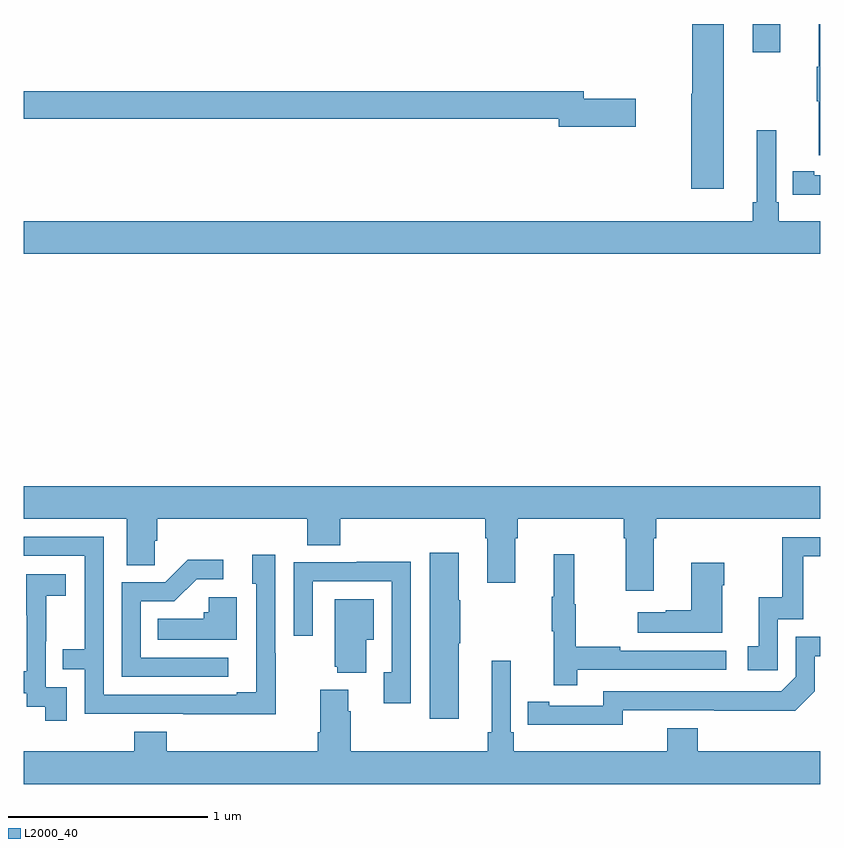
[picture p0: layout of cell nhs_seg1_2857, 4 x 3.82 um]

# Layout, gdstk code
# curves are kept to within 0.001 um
import gdstk
lib = gdstk.Library(unit=1e-6, precision=1e-09)
def R(c, l, rs):  # rectangles x0, y0, x1, y1
    for r in rs: c.add(gdstk.rectangle(r[:2], r[2:], *l))
def P(c, l, *ps):  # polygons
    for p in ps: c.add(gdstk.Polygon(p, *l))
L2000_40 = (2000, 40)

nhs_seg1_2857 = lib.new_cell('nhs_seg1_2857')
R(nhs_seg1_2857, L2000_40, [(268.661,574.056,268.801,574.199)])
P(nhs_seg1_2857, L2000_40, [(268.516,574.199),(268.358,574.199),(268.358,573.849),(268.352,573.849),(268.352,573.372),(268.516,573.372)],
  [(269,574.198),(268.994,574.198),(268.994,573.985),(268.983,573.985),(268.983,573.811),(268.994,573.811),(268.994,573.54),(269,573.54)],
  [(268.075,573.824),(267.814,573.824),(267.814,573.86),(265,573.86),(265,573.724),(267.686,573.724),(267.686,573.682),(268.075,573.682)],
  [(269,573.208),(268.793,573.208),(268.793,573.304),(268.779,573.304),(268.779,573.664),(268.682,573.664),(268.682,573.304),(268.663,573.304),(268.663,573.208),(265,573.208),(265,573.044),(269,573.044)],
  [(269,573.438),(268.972,573.438),(268.972,573.458),(268.864,573.458),(268.864,573.342),(268.972,573.342),(268.972,573.341),(269,573.341)],
  [(268.165,571.616),(268.178,571.616),(268.178,571.712),(269,571.712),(269,571.876),(265,571.876),(265,571.712),(265.517,571.712),(265.517,571.48),(265.656,571.48),(265.656,571.603),(265.67,571.603),(265.67,571.712),(266.423,571.712),(266.423,571.579),(266.588,571.579),(266.588,571.712),(267.317,571.712),(267.317,571.616),(267.329,571.616),(267.329,571.392),(267.469,571.392),(267.469,571.616),(267.482,571.616),(267.482,571.712),(268.013,571.712),(268.013,571.616),(268.025,571.616),(268.025,571.35),(268.165,571.35)],
  [(266.265,571.037),(266.262,571.037),(266.262,571.531),(266.147,571.531),(266.147,571.386),(266.166,571.386),(266.166,570.841),(266.069,570.841),(266.069,570.828),(265.401,570.828),(265.401,571.623),(265,571.623),(265,571.527),(265.305,571.527),(265.305,571.058),(265.195,571.058),(265.195,570.957),(265.305,570.957),(265.305,570.732),(265.801,570.732),(265.801,570.731),(266.265,570.731)],
  [(268.788,571.209),(268.917,571.209),(268.917,571.524),(269,571.524),(269,571.62),(268.809,571.62),(268.809,571.318),(268.691,571.318),(268.691,571.071),(268.638,571.071),(268.638,570.951),(268.788,570.951)],
  [(267.184,571.087),(267.192,571.087),(267.192,571.304),(267.184,571.304),(267.184,571.543),(267.038,571.543),(267.038,570.708),(267.184,570.708)],
  [(267.779,570.954),(268.528,570.954),(268.528,571.05),(267.995,571.05),(267.995,571.07),(267.772,571.07),(267.772,571.284),(267.764,571.284),(267.764,571.534),(267.662,571.534),(267.662,571.321),(267.651,571.321),(267.651,571.147),(267.662,571.147),(267.662,570.876),(267.779,570.876)],
  [(266.026,571.014),(265.587,571.014),(265.587,571.299),(265.756,571.299),(265.867,571.41),(266.002,571.41),(266.002,571.508),(265.823,571.508),(265.71,571.395),(265.491,571.395),(265.491,570.918),(266.026,570.918)],
  [(266.943,571.496),(266.671,571.496),(266.671,571.494),(266.355,571.494),(266.355,571.125),(266.451,571.125),(266.451,571.398),(266.847,571.398),(266.847,570.942),(266.807,570.942),(266.807,570.786),(266.943,570.786)],
  [(268.51,571.379),(268.518,571.379),(268.518,571.492),(268.352,571.492),(268.352,571.253),(268.226,571.253),(268.226,571.243),(268.083,571.243),(268.083,571.139),(268.51,571.139)],
  [(265.215,570.867),(265.11,570.867),(265.11,571.097),(265.112,571.097),(265.112,571.325),(265.21,571.325),(265.21,571.435),(265.012,571.435),(265.012,571.229),(265.013,571.229),(265.013,570.946),(265,570.946),(265,570.837),(265.014,570.837),(265.014,570.769),(265.107,570.769),(265.107,570.699),(265.215,570.699)],
  [(266.068,571.318),(265.929,571.318),(265.929,571.242),(265.903,571.242),(265.903,571.21),(265.672,571.21),(265.672,571.106),(266.068,571.106)],
  [(266.719,571.106),(266.758,571.106),(266.758,571.309),(266.561,571.309),(266.561,570.969),(266.573,570.969),(266.573,570.938),(266.719,570.938)],
  [(268.008,570.75),(268.876,570.749),(268.974,570.846),(268.974,571.023),(269,571.023),(269,571.119),(268.878,571.119),(268.878,570.918),(268.806,570.846),(267.912,570.846),(267.912,570.774),(267.64,570.774),(267.64,570.794),(267.532,570.794),(267.532,570.678),(268.008,570.677)],
  [(266.489,570.853),(266.489,570.64),(266.477,570.64),(266.477,570.544),(265.718,570.544),(265.718,570.643),(265.553,570.643),(265.553,570.544),(265,570.544),(265,570.38),(269,570.38),(269,570.544),(268.385,570.544),(268.385,570.661),(268.232,570.661),(268.232,570.544),(267.461,570.544),(267.461,570.64),(267.447,570.64),(267.447,571),(267.35,571),(267.35,570.64),(267.331,570.64),(267.331,570.544),(266.642,570.544),(266.642,570.746),(266.629,570.746),(266.629,570.853)])

lib.write_gds('nhs_seg1_2857.gds')
